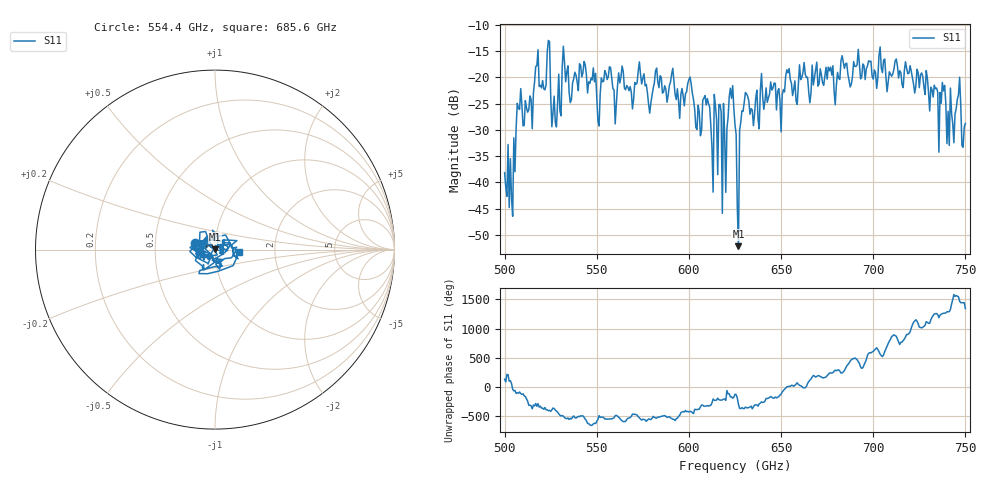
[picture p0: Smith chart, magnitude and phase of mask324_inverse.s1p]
!Created with skrf (http://scikit-rf.org).
# GHz S MA R 50.0
!freq magS11 angS11
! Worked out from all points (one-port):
!   401 points, 500 GHz to 750 GHz, reference 50 ohm
!   lowest |S11| = -52.1 dB at 626.9 GHz (marker M1), VSWR 1.00, Z = 50.1 + j0.204 ohm
!   |S11| at or under -10 dB: start of sweep to end of sweep
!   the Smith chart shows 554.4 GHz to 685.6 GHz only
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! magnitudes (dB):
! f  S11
! 500 GHz  -38.2
! 503.8 GHz  -43.0
! 507.5 GHz  -25.9
! 513.8 GHz  -23.5
! 516.9 GHz  -17.9
! 523.8 GHz  -13.0
! 526.9 GHz  -23.6
! 531.2 GHz  -18.1
! 542.5 GHz  -19.1
! 551.2 GHz  -29.3
! 562.5 GHz  -21.1
! 593.8 GHz  -22.2
! 600.6 GHz  -20.0
! 605.6 GHz  -26.6
! 609.4 GHz  -25.3
! 611.9 GHz  -29.1
! 619.4 GHz  -30.8
! 623.1 GHz  -24.0
! 625 GHz  -29.0
! 626.9 GHz  -52.1
! 628.8 GHz  -26.4
! 631.2 GHz  -23.1
! 656.2 GHz  -23.5
! 687.5 GHz  -21.8
! 718.8 GHz  -19.3
! 742.5 GHz  -26.9
! 746.2 GHz  -23.3
! 750 GHz  -28.8
